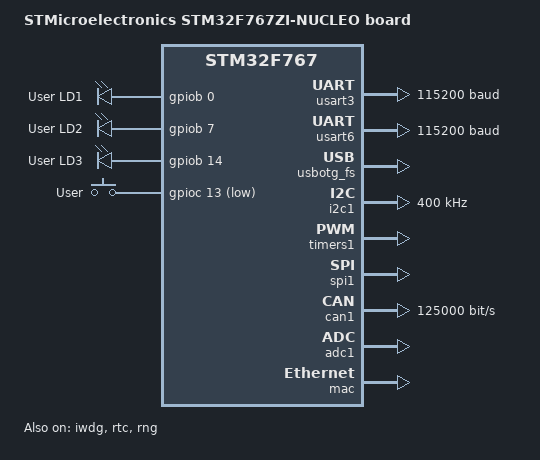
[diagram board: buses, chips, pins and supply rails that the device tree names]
/*
 * Copyright (c) 2019 Roland Ma
 *
 * SPDX-License-Identifier: Apache-2.0
 */

/dts-v1/;
#include <st/f7/stm32f767Xi.dtsi>
#include "arduino_r3_connector.dtsi"

/ {
	model = "STMicroelectronics STM32F767ZI-NUCLEO board";
	compatible = "st,stm32f767zi-nucleo", "st,stm32f767";

	chosen {
		zephyr,console = &usart3;
		zephyr,shell-uart = &usart3;
		zephyr,sram = &sram0;
		zephyr,flash = &flash0;
		zephyr,code-partition = &slot0_partition;
		zephyr,dtcm = &dtcm;
		zephyr,can-primary = &can1;
	};

	leds {
		compatible = "gpio-leds";
		green_led: led_0 {
			gpios = <&gpiob 0 GPIO_ACTIVE_HIGH>;
			label = "User LD1";
		};
		blue_led: led_1 {
			gpios = <&gpiob 7 GPIO_ACTIVE_HIGH>;
			label = "User LD2";
		};
		red_led: led_2 {
			gpios = <&gpiob 14 GPIO_ACTIVE_HIGH>;
			label = "User LD3";
		};
	};

	gpio_keys {
		compatible = "gpio-keys";
		user_button: button_0 {
			label = "User";
			gpios = <&gpioc 13 GPIO_ACTIVE_LOW>;
		};
	};

	aliases {
		led0 = &green_led;
		led1 = &blue_led;
		led2 = &red_led;
		sw0 = &user_button;
	};
};

&usart3 {
	current-speed = <115200>;
	status = "okay";
};

&usart6 {
	current-speed = <115200>;
	status = "okay";
};

&usbotg_fs {
	status = "okay";
};

&i2c1 {
	status = "okay";
	clock-frequency = <I2C_BITRATE_FAST>;
};

&timers1 {
	status = "okay";

	pwm1: pwm {
		status = "okay";
	};
};

&spi1 {
	/*
	 * WARNING: The pin PA7 will conflict on selection of SPI_1 and
	 *          ETH_STM32_HAL. See pinmux.c for further details.
	 */
	status = "okay";
};

&iwdg {
	status = "okay";
};

&rtc {
	status = "okay";
};

&can1 {
	bus-speed = <125000>;
	sjw = <1>;
	prop-seg = <0>;
	phase-seg1 = <6>;
	phase-seg2 = <5>;
	status = "okay";
};

&adc1 {
	status = "okay";
};

&rng {
	status = "okay";
};

&mac {
	status = "okay";
};

&flash0 {
	partitions {
		compatible = "fixed-partitions";
		#address-cells = <1>;
		#size-cells = <1>;

		/*
		 * The two sectors 0-1 (32+32 kbytes) are reserved for
		 * the bootloader.
		 */
		boot_partition: partition@0 {
			label = "mcuboot";
			reg = <0x0 0x00010000>;
			read-only;
		};

		/*
		 * The flash starting at offset 0x10000 and ending at
		 * offset 0x1ffff is reserved for use by the application.
		 * This represents sectors 2-3 (32+32 kbytes)
		 */
		storage_partition: partition@10000 {
			label = "storage";
			reg = <0x00010000 0x00010000>;
		};

		/*
		 * Sector 4 (128 kbytes) unallocated.
		 */

		/*
		 * Allocated 3 (256k x 3) sectors for image-0. Sectors 5-7.
		 */
		slot0_partition: partition@40000 {
			label = "image-0";
			reg = <0x00040000 0x000C0000>;
		};

		/*
		 * Allocated 3 (256k x 3) sectors for image-1. Sectors 8-10.
		 */
		slot1_partition: partition@100000 {
			label = "image-1";
			reg = <0x00100000 0x000C0000>;
		};

		/*
		 * Allocated 1 (256k) sector for image-scratch. Sector 11.
		 */
		scratch_partition: partition@1C0000 {
			label = "image-scratch";
			reg = <0x001C0000 0x00040000>;
		};
	};
};
